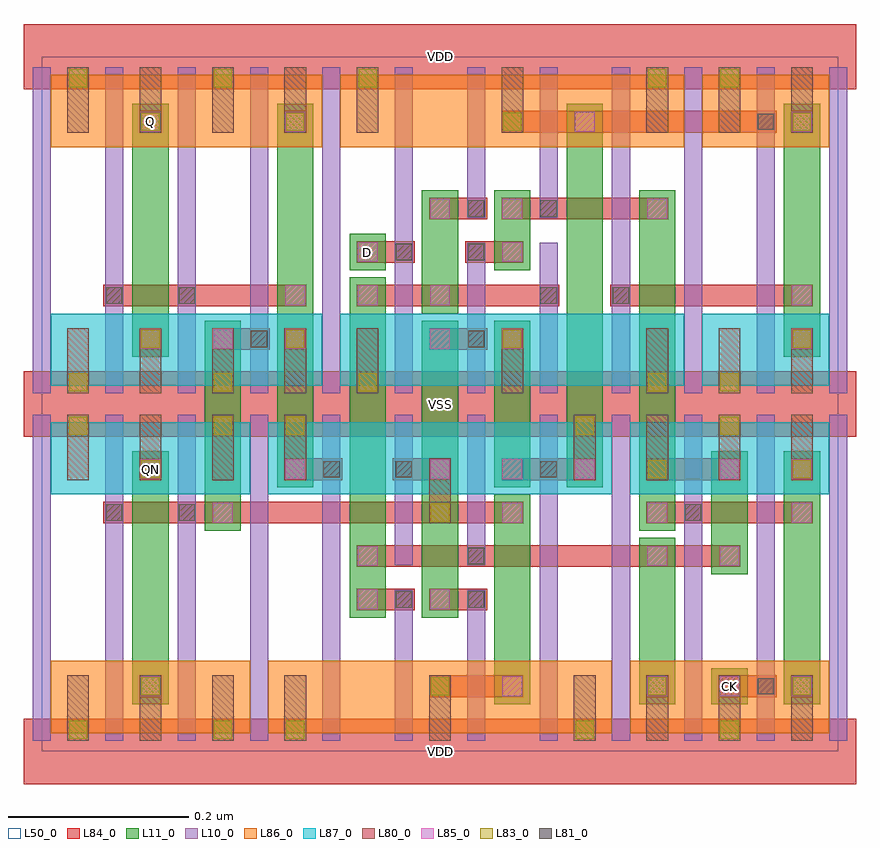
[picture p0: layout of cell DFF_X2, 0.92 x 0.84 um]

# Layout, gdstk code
import gdstk
lib = gdstk.Library(unit=1e-6, precision=1e-09)
def R(c, l, rs):  # rectangles x0, y0, x1, y1
    for r in rs: c.add(gdstk.rectangle(r[:2], r[2:], *l))
def A(c, l, x, y, w, h, nx, ny, dx, dy):  # array of equal rectangles
    R(c, l, [(x+i*dx, y+j*dy, x+i*dx+w, y+j*dy+h) for i in range(nx) for j in range(ny)])
L10_0 = (10, 0)
L11_0 = (11, 0)
L50_0 = (50, 0)
L80_0 = (80, 0)
L81_0 = (81, 0)
L83_0 = (83, 0)
L84_0 = (84, 0)
L85_0 = (85, 0)
L86_0 = (86, 0)
L87_0 = (87, 0)

dff_x2 = lib.new_cell('DFF_X2')
A(dff_x2, L10_0, -0.01, 0.012, 0.02, 0.36, 5, 1, 0.08, 0)
A(dff_x2, L10_0, 0.55, 0.012, 0.02, 0.36, 5, 1, 0.08, 0)
A(dff_x2, L10_0, -0.01, 0.396, 0.02, 0.36, 6, 1, 0.08, 0)
A(dff_x2, L10_0, 0.63, 0.396, 0.02, 0.36, 4, 1, 0.08, 0)
R(dff_x2, L10_0, [(0.39,0.012,0.41,0.178), (0.47,0.012,0.49,0.178), (0.39,0.206,0.41,0.372), (0.47,0.206,0.49,0.372), (0.47,0.396,0.49,0.562), (0.55,0.396,0.57,0.562), (0.47,0.59,0.49,0.756), (0.55,0.59,0.57,0.756)])
R(dff_x2, L11_0, [(0.1,0.052,0.14,0.332), (0.5,0.052,0.54,0.284), (0.66,0.052,0.7,0.236), (0.74,0.052,0.78,0.092), (0.82,0.052,0.86,0.332), (0.34,0.148,0.38,0.524), (0.42,0.148,0.46,0.476), (0.74,0.196,0.78,0.332), (0.18,0.244,0.22,0.476), (0.66,0.244,0.7,0.62), (0.26,0.292,0.3,0.716), (0.5,0.292,0.54,0.476), (0.58,0.292,0.62,0.716), (0.1,0.436,0.14,0.716), (0.82,0.436,0.86,0.716), (0.42,0.484,0.46,0.62), (0.34,0.532,0.38,0.572), (0.5,0.532,0.54,0.62)])
R(dff_x2, L50_0, [(0,0,0.88,0.768)])
A(dff_x2, L80_0, 0.028, 0.012, 0.024, 0.072, 4, 2, 0.08, 0.288)
A(dff_x2, L80_0, 0.588, 0.012, 0.024, 0.072, 4, 2, 0.08, 0.288)
A(dff_x2, L80_0, 0.028, 0.396, 0.024, 0.072, 5, 2, 0.08, 0.288)
A(dff_x2, L80_0, 0.668, 0.396, 0.024, 0.072, 3, 2, 0.08, 0.288)
R(dff_x2, L80_0, [(0.428,0.012,0.452,0.084), (0.428,0.252,0.452,0.324), (0.508,0.396,0.532,0.468), (0.508,0.684,0.532,0.756)])
R(dff_x2, L81_0, [(0.791,0.063,0.809,0.081), (0.391,0.159,0.409,0.177), (0.471,0.159,0.489,0.177), (0.471,0.207,0.489,0.225), (0.071,0.255,0.089,0.273), (0.151,0.255,0.169,0.273), (0.711,0.255,0.729,0.273), (0.311,0.303,0.329,0.321), (0.391,0.303,0.409,0.321), (0.551,0.303,0.569,0.321), (0.231,0.447,0.249,0.465), (0.471,0.447,0.489,0.465), (0.071,0.495,0.089,0.513), (0.151,0.495,0.169,0.513), (0.551,0.495,0.569,0.513), (0.631,0.495,0.649,0.513), (0.391,0.543,0.409,0.561), (0.471,0.543,0.489,0.561), (0.471,0.591,0.489,0.609), (0.551,0.591,0.569,0.609), (0.791,0.687,0.809,0.705)])
A(dff_x2, L83_0, 0.03, 0.398, 0.02, 0.02, 3, 2, 0.16, 0.336)
R(dff_x2, L83_0, [(0.03,0.014,0.05,0.034), (0.19,0.014,0.21,0.034), (0.27,0.014,0.29,0.034), (0.59,0.014,0.61,0.034), (0.75,0.014,0.77,0.034), (0.11,0.062,0.13,0.082), (0.43,0.062,0.45,0.082), (0.67,0.062,0.69,0.082), (0.83,0.062,0.85,0.082), (0.43,0.254,0.45,0.274), (0.11,0.302,0.13,0.322), (0.67,0.302,0.69,0.322), (0.83,0.302,0.85,0.322), (0.03,0.35,0.05,0.37), (0.19,0.35,0.21,0.37), (0.27,0.35,0.29,0.37), (0.59,0.35,0.61,0.37), (0.75,0.35,0.77,0.37), (0.67,0.398,0.69,0.418), (0.75,0.398,0.77,0.418), (0.11,0.446,0.13,0.466), (0.27,0.446,0.29,0.466), (0.51,0.446,0.53,0.466), (0.83,0.446,0.85,0.466), (0.11,0.686,0.13,0.706), (0.27,0.686,0.29,0.706), (0.51,0.686,0.53,0.706), (0.83,0.686,0.85,0.706), (0.67,0.734,0.69,0.754), (0.75,0.734,0.77,0.754)])
A(dff_x2, L84_0, -0.02, -0.036, 0.92, 0.072, 1, 3, 0, 0.384)
A(dff_x2, L84_0, 0.068, 0.492, 0.224, 0.024, 3, 1, 0.28, 0)
R(dff_x2, L84_0, [(0.108,0.06,0.132,0.084), (0.428,0.06,0.532,0.084), (0.668,0.06,0.692,0.084), (0.748,0.06,0.812,0.084), (0.828,0.06,0.852,0.084), (0.348,0.156,0.412,0.18), (0.428,0.156,0.492,0.18), (0.348,0.204,0.772,0.228), (0.068,0.252,0.532,0.276), (0.668,0.252,0.852,0.276), (0.108,0.3,0.132,0.324), (0.268,0.3,0.332,0.324), (0.388,0.3,0.452,0.324), (0.508,0.3,0.612,0.324), (0.668,0.3,0.772,0.324), (0.828,0.3,0.852,0.324), (0.108,0.444,0.132,0.468), (0.188,0.444,0.252,0.468), (0.268,0.444,0.292,0.468), (0.428,0.444,0.492,0.468), (0.508,0.444,0.532,0.468), (0.828,0.444,0.852,0.468), (0.348,0.54,0.412,0.564), (0.468,0.54,0.532,0.564), (0.428,0.588,0.492,0.612), (0.508,0.588,0.692,0.612), (0.108,0.684,0.132,0.708), (0.268,0.684,0.292,0.708), (0.508,0.684,0.812,0.708), (0.828,0.684,0.852,0.708)])
A(dff_x2, L85_0, 0.669, 0.061, 0.022, 0.022, 3, 1, 0.08, 0)
A(dff_x2, L85_0, 0.509, 0.253, 0.022, 0.022, 3, 1, 0.16, 0)
A(dff_x2, L85_0, 0.109, 0.301, 0.022, 0.022, 3, 1, 0.16, 0)
A(dff_x2, L85_0, 0.109, 0.445, 0.022, 0.022, 3, 1, 0.08, 0)
A(dff_x2, L85_0, 0.269, 0.493, 0.022, 0.022, 3, 1, 0.08, 0)
R(dff_x2, L85_0, [(0.109,0.061,0.131,0.083), (0.509,0.061,0.531,0.083), (0.349,0.157,0.371,0.179), (0.429,0.157,0.451,0.179), (0.349,0.205,0.371,0.227), (0.669,0.205,0.691,0.227), (0.749,0.205,0.771,0.227), (0.189,0.253,0.211,0.275), (0.509,0.301,0.531,0.323), (0.589,0.301,0.611,0.323), (0.749,0.301,0.771,0.323), (0.829,0.301,0.851,0.323), (0.429,0.445,0.451,0.467), (0.509,0.445,0.531,0.467), (0.829,0.445,0.851,0.467), (0.829,0.493,0.851,0.515), (0.349,0.541,0.371,0.563), (0.509,0.541,0.531,0.563), (0.429,0.589,0.451,0.611), (0.509,0.589,0.531,0.611), (0.669,0.589,0.691,0.611), (0.109,0.685,0.131,0.707), (0.269,0.685,0.291,0.707), (0.589,0.685,0.611,0.707), (0.829,0.685,0.851,0.707)])
R(dff_x2, L86_0, [(0.01,0.02,0.23,0.1), (0.25,0.02,0.63,0.1), (0.65,0.02,0.87,0.1), (0.01,0.668,0.31,0.748), (0.33,0.668,0.71,0.748), (0.73,0.668,0.87,0.748)])
R(dff_x2, L87_0, [(0.01,0.284,0.23,0.364), (0.25,0.284,0.63,0.364), (0.65,0.284,0.87,0.364), (0.01,0.404,0.31,0.484), (0.33,0.404,0.71,0.484), (0.73,0.404,0.87,0.484)])
dff_x2.add(gdstk.Label('VDD', (0.44,0.768), layer=88, texttype=0))
dff_x2.add(gdstk.Label('VDD', (0.44,0), layer=88, texttype=0))
dff_x2.add(gdstk.Label('VSS', (0.44,0.384), layer=88, texttype=0))
dff_x2.add(gdstk.Label('Q', (0.12,0.696), layer=31, texttype=0))
dff_x2.add(gdstk.Label('QN', (0.12,0.312), layer=31, texttype=0))
dff_x2.add(gdstk.Label('D', (0.36,0.552), layer=31, texttype=0))
dff_x2.add(gdstk.Label('CK', (0.76,0.072), layer=31, texttype=0))

lib.write_gds('DFF_X2.gds')
